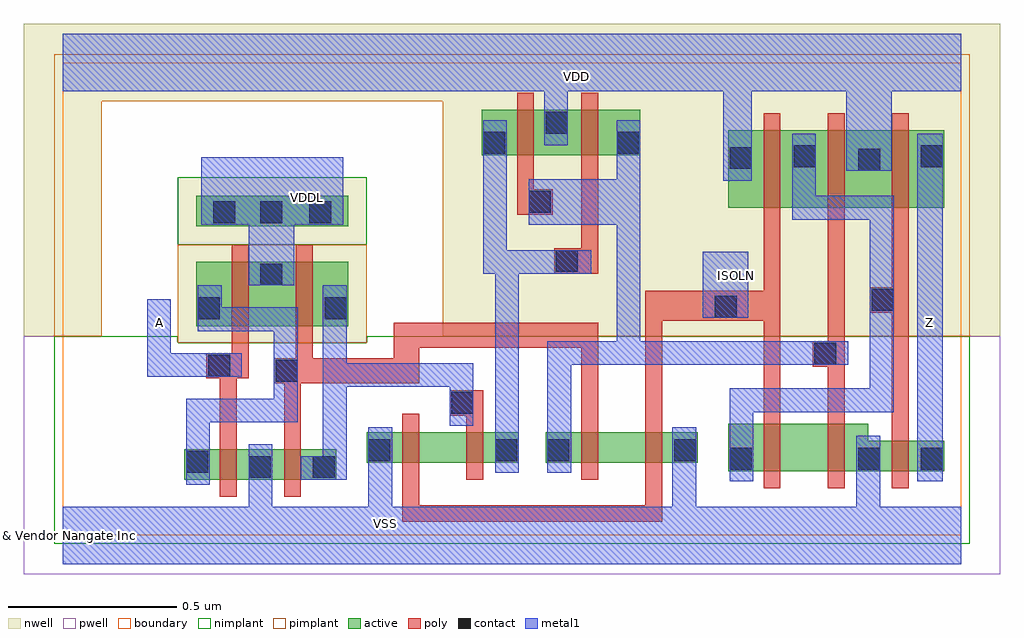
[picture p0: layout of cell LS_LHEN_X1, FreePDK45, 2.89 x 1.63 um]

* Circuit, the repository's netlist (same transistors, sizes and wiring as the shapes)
* 
* ******************************************************************************
* *                                                                            *
* *                   Copyright (C) 2004-2011, Nangate Inc.                    *
* *                           All rights reserved.                             *
* *                                                                            *
* * Nangate and the Nangate logo are trademarks of Nangate Inc.                *
* *                                                                            *
* * All trademarks, logos, software marks, and trade names (collectively the   *
* * "Marks") in this program are proprietary to Nangate or other respective    *
* * owners that have granted Nangate the right and license to use such Marks.  *
* * You are not permitted to use the Marks without the prior written consent   *
* * of Nangate or such third party that may own the Marks.                     *
* *                                                                            *
* * This file has been provided pursuant to a License Agreement containing     *
* * restrictions on its use. This file contains valuable trade secrets and     *
* * proprietary information of Nangate Inc., and is protected by U.S. and      *
* * international laws and/or treaties.                                        *
* *                                                                            *
* * The copyright notice(s) in this file does not indicate actual or intended  *
* * publication of this file.                                                  *
* *                                                                            *
* *     NGLibraryCreator, v2010.08-HR32-SP3-2010-08-05 - build 1009061800      *
* *                                                                            *
* ******************************************************************************
* 
* 
* Running on server08.nangate.com for user Giancarlo Franciscatto (gfr).
* Local time is now Thu, 6 Jan 2011, 19:45:47.
* Main process id is 3320.
*
********************************************************************************
*                                                                              *
* Cellname:   LS_LHEN_X1.                                                      *
*                                                                              *
* Technology: NCSU FreePDK 45nm.                                               *
* Format:     Cdl.                                                             *
*                                                                              *
* Written on server08.nangate.com for user Giancarlo Franciscatto (gfr)        *
* at 19:45:47 on Thu, 6 Jan 2011.                                              *
*                                                                              *
********************************************************************************
.SUBCKT LS_LHEN_X1 A ISOLN Z VDD VDDL VSS 
*.PININFO A:I ISOLN:I Z:O VDD:P VDDL:P VSS:G 
*.EQN Z=(A * ISOLN)
M_i_0 VSS A net_000 VSS NMOS_VTL W=0.090000U L=0.050000U
M_i_7 net_001 net_000 VSS VSS NMOS_VTL W=0.090000U L=0.050000U
M_i_13 net_002 ISOLN VSS VSS NMOS_VTL W=0.090000U L=0.050000U
M_i_18 net_003 net_001 net_002 VSS NMOS_VTL W=0.090000U L=0.050000U
M_i_24 net_005 net_000 net_004 VSS NMOS_VTL W=0.090000U L=0.050000U
M_i_29 VSS ISOLN net_005 VSS NMOS_VTL W=0.090000U L=0.050000U
M_i_35 net_007 ISOLN net_006 VSS NMOS_VTL W=0.140000U L=0.050000U
M_i_40 VSS net_004 net_007 VSS NMOS_VTL W=0.140000U L=0.050000U
M_i_46 Z net_006 VSS VSS NMOS_VTL W=0.090000U L=0.050000U
M_i_52 VDDL A net_000 VDDL PMOS_VTL W=0.190000U L=0.050000U
M_i_59 net_001 net_000 VDDL VDDL PMOS_VTL W=0.190000U L=0.050000U
M_i_65 VDD net_004 net_003 VDD PMOS_VTL W=0.135000U L=0.050000U
M_i_72 net_004 net_003 VDD VDD PMOS_VTL W=0.135000U L=0.050000U
M_i_78 net_006 ISOLN VDD VDD PMOS_VTL W=0.230000U L=0.050000U
M_i_85 VDD net_004 net_006 VDD PMOS_VTL W=0.230000U L=0.050000U
M_i_91 Z net_006 VDD VDD PMOS_VTL W=0.230000U L=0.050000U
.ENDS 

********************************************************************************
*
* END
*
********************************************************************************

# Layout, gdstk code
import gdstk
lib = gdstk.Library(unit=1e-6, precision=1e-10)
def R(c, l, rs):  # rectangles x0, y0, x1, y1
    for r in rs: c.add(gdstk.rectangle(r[:2], r[2:], *l))
def P(c, l, *ps):  # polygons
    for p in ps: c.add(gdstk.Polygon(p, *l))
active = (1, 0)
pwell = (2, 0)
nwell = (3, 0)
nimplant = (4, 0)
pimplant = (5, 0)
poly = (9, 0)
contact = (10, 0)
metal1 = (11, 0)
boundary = (235, 0)

ls_lhen_x1 = lib.new_cell('LS_LHEN_X1')
R(ls_lhen_x1, active, [(0.36,0.165,0.81,0.255), (0.9,0.215,1.35,0.305), (1.43,0.215,1.88,0.305), (0.395,0.62,0.845,0.81), (0.395,0.915,0.845,1.005), (1.97,0.97,2.61,1.2), (1.24,1.125,1.71,1.26)])
P(ls_lhen_x1, active, [(1.97,0.19),(2.61,0.19),(2.61,0.28),(2.385,0.28),(2.385,0.33),(1.97,0.33)])
P(ls_lhen_x1, pwell, [(-0.115,-0.115),(2.775,-0.115),(2.775,0.59),(0.9,0.59),(0.9,0.57),(0.34,0.57),(0.34,0.59),(-0.115,0.59)])
R(ls_lhen_x1, nwell, [(0.34,0.57,0.9,1.06)])
P(ls_lhen_x1, nwell, [(-0.115,0.59),(0.115,0.59),(0.115,1.285),(1.125,1.285),(1.125,0.59),(2.775,0.59),(2.775,1.515),(-0.115,1.515)])
R(ls_lhen_x1, nimplant, [(0.34,0.86,0.9,1.06)])
P(ls_lhen_x1, nimplant, [(-0.025,-0.025),(2.685,-0.025),(2.685,0.59),(0.9,0.59),(0.9,0.57),(0.34,0.57),(0.34,0.59),(-0.025,0.59)])
R(ls_lhen_x1, pimplant, [(0.34,0.57,0.9,0.86)])
P(ls_lhen_x1, pimplant, [(-0.025,0.59),(0.115,0.59),(0.115,1.285),(1.125,1.285),(1.125,0.59),(2.685,0.59),(2.685,1.425),(-0.025,1.425)])
P(ls_lhen_x1, poly, [(1.345,0.95),(1.45,0.95),(1.45,1.025),(1.395,1.025),(1.395,1.31),(1.345,1.31)],
  [(0.625,0.45),(0.655,0.45),(0.655,0.115),(0.705,0.115),(0.705,0.45),(1.055,0.45),(1.055,0.555),(1.535,0.555),(1.535,0.165),(1.585,0.165),(1.585,0.63),(0.98,0.63),(0.98,0.525),(0.74,0.525),(0.74,0.86),(0.69,0.86),(0.69,0.525),(0.625,0.525)],
  [(1.455,0.775),(1.585,0.775),(1.585,1.31),(1.535,1.31),(1.535,0.85),(1.455,0.85)],
  [(1.005,0.04),(1.775,0.04),(1.775,0.635),(2.075,0.635),(2.075,0.14),(2.125,0.14),(2.125,1.25),(2.075,1.25),(2.075,0.725),(1.725,0.725),(1.725,0.09),(1.055,0.09),(1.055,0.36),(1.005,0.36)],
  [(2.22,0.5),(2.265,0.5),(2.265,0.14),(2.315,0.14),(2.315,1.25),(2.265,1.25),(2.265,0.575),(2.22,0.575)],
  [(2.39,0.66),(2.455,0.66),(2.455,0.14),(2.505,0.14),(2.505,1.25),(2.455,1.25),(2.455,0.735),(2.39,0.735)],
  [(0.425,0.465),(0.465,0.465),(0.465,0.115),(0.515,0.115),(0.515,0.465),(0.55,0.465),(0.55,0.86),(0.5,0.86),(0.5,0.54),(0.425,0.54)],
  [(1.145,0.355),(1.195,0.355),(1.195,0.165),(1.245,0.165),(1.245,0.43),(1.145,0.43)])
R(ls_lhen_x1, contact, [(0.55,0.17,0.615,0.235), (0.74,0.17,0.805,0.235), (0.365,0.185,0.43,0.25), (1.975,0.195,2.04,0.26), (2.355,0.195,2.42,0.26), (2.54,0.195,2.605,0.26), (0.905,0.22,0.97,0.285), (1.28,0.22,1.345,0.285), (1.435,0.22,1.5,0.285), (1.81,0.22,1.875,0.285), (1.15,0.36,1.215,0.425), (0.63,0.455,0.695,0.52), (0.43,0.47,0.495,0.535), (2.225,0.505,2.29,0.57), (0.4,0.64,0.465,0.705), (0.775,0.64,0.84,0.705), (1.93,0.645,1.995,0.71), (2.395,0.665,2.46,0.73), (0.585,0.74,0.65,0.805), (1.46,0.78,1.525,0.845), (0.445,0.925,0.51,0.99), (0.585,0.925,0.65,0.99), (0.73,0.925,0.795,0.99), (1.38,0.955,1.445,1.02), (2.355,1.08,2.42,1.145), (1.975,1.085,2.04,1.15), (2.165,1.09,2.23,1.155), (2.54,1.09,2.605,1.155), (1.245,1.13,1.31,1.195), (1.64,1.13,1.705,1.195), (1.43,1.19,1.495,1.255)])
R(ls_lhen_x1, metal1, [(2.53,0.16,2.605,1.19), (1.895,0.645,2.03,0.84)])
P(ls_lhen_x1, metal1, [(0.25,0.47),(0.53,0.47),(0.53,0.54),(0.32,0.54),(0.32,0.7),(0.25,0.7)],
  [(0.4,0.605),(0.625,0.605),(0.625,0.405),(0.365,0.405),(0.365,0.15),(0.435,0.15),(0.435,0.335),(0.695,0.335),(0.695,0.675),(0.47,0.675),(0.47,0.74),(0.4,0.74)],
  [(0.41,0.92),(0.55,0.92),(0.55,0.74),(0.685,0.74),(0.685,0.92),(0.83,0.92),(0.83,1.12),(0.41,1.12)],
  [(0.705,0.165),(0.84,0.165),(0.84,0.44),(1.145,0.44),(1.145,0.325),(1.215,0.325),(1.215,0.51),(0.84,0.51),(0.84,0.74),(0.77,0.74),(0.77,0.235),(0.705,0.235)],
  [(1.245,0.775),(1.28,0.775),(1.28,0.185),(1.35,0.185),(1.35,0.775),(1.565,0.775),(1.565,0.845),(1.315,0.845),(1.315,1.23),(1.245,1.23)],
  [(1.38,0.92),(1.64,0.92),(1.64,0.575),(1.435,0.575),(1.435,0.185),(1.505,0.185),(1.505,0.505),(2.325,0.505),(2.325,0.575),(1.71,0.575),(1.71,1.23),(1.64,1.23),(1.64,1.055),(1.38,1.055)],
  [(2.16,0.935),(2.39,0.935),(2.39,0.435),(1.975,0.435),(1.975,0.16),(2.045,0.16),(2.045,0.365),(2.46,0.365),(2.46,1.005),(2.23,1.005),(2.23,1.19),(2.16,1.19)],
  [(0,-0.085),(2.66,-0.085),(2.66,0.085),(2.42,0.085),(2.42,0.295),(2.35,0.295),(2.35,0.085),(1.875,0.085),(1.875,0.32),(1.805,0.32),(1.805,0.085),(0.975,0.085),(0.975,0.32),(0.905,0.32),(0.905,0.085),(0.62,0.085),(0.62,0.27),(0.55,0.27),(0.55,0.085),(0,0.085)],
  [(0,1.315),(1.425,1.315),(1.425,1.155),(1.495,1.155),(1.495,1.315),(1.955,1.315),(1.955,1.05),(2.04,1.05),(2.04,1.315),(2.32,1.315),(2.32,1.08),(2.455,1.08),(2.455,1.315),(2.66,1.315),(2.66,1.485),(0,1.485)])
R(ls_lhen_x1, boundary, [(0,0,2.66,1.4)])
ls_lhen_x1.add(gdstk.Label('VDDL', (0.725,1), layer=11, texttype=0))
ls_lhen_x1.add(gdstk.Label('A', (0.285,0.63), layer=11, texttype=0))
ls_lhen_x1.add(gdstk.Label('VSS', (0.955,0.035), layer=11, texttype=0))
ls_lhen_x1.add(gdstk.Label('VDD', (1.52,1.36), layer=11, texttype=0))
ls_lhen_x1.add(gdstk.Label('Z', (2.565,0.63), layer=11, texttype=0))
ls_lhen_x1.add(gdstk.Label('ISOLN', (1.995,0.77), layer=11, texttype=0))
ls_lhen_x1.add(gdstk.Label('& Vendor Nangate Inc', (0,0), layer=63, texttype=63))
ls_lhen_x1.add(gdstk.Label('& Product Open Cell Library', (0,0), layer=63, texttype=63))
ls_lhen_x1.add(gdstk.Label('& Version 2010_12', (0,0), layer=63, texttype=63))
ls_lhen_x1.add(gdstk.Label('& Instance LS_LHEN_X1', (0,0), layer=63, texttype=63))

lib.write_gds('LS_LHEN_X1.gds')
